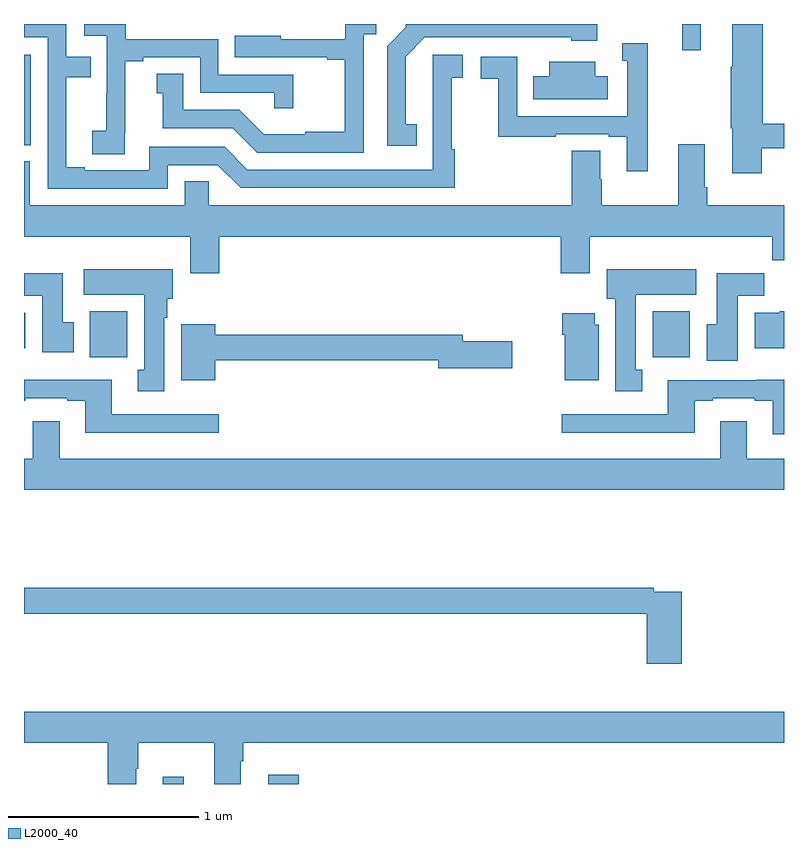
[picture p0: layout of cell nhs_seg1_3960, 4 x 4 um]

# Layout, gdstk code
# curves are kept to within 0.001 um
import gdstk
lib = gdstk.Library(unit=1e-6, precision=1e-09)
def R(c, l, rs):  # rectangles x0, y0, x1, y1
    for r in rs: c.add(gdstk.rectangle(r[:2], r[2:], *l))
def P(c, l, *ps):  # polygons
    for p in ps: c.add(gdstk.Polygon(p, *l))
L2000_40 = (2000, 40)

nhs_seg1_3960 = lib.new_cell('nhs_seg1_3960')
R(nhs_seg1_3960, L2000_40, [(327.731,534.199,327.841,534.238), (328.286,534.199,328.445,534.247), (327.347,536.444,327.544,536.686), (330.308,536.444,330.505,536.686), (327,536.492,327.007,536.68), (327,537.561,327.036,538.038), (330.465,538.062,330.562,538.199)])
P(nhs_seg1_3960, L2000_40, [(330.882,537.546),(331,537.546),(331,537.674),(330.887,537.674),(330.887,538.199),(330.728,538.199),(330.728,537.974),(330.721,537.974),(330.721,537.651),(330.728,537.651),(330.728,537.414),(330.882,537.414)],
  [(328.788,538.145),(328.853,538.145),(328.853,538.199),(328.692,538.199),(328.692,538.119),(328.351,538.119),(328.351,538.138),(328.108,538.138),(328.108,538.023),(328.595,538.023),(328.595,538.011),(328.687,538.011),(328.687,537.631),(328.481,537.631),(328.481,537.619),(328.262,537.619),(328.134,537.747),(327.838,537.747),(327.838,537.938),(327.698,537.938),(327.698,537.835),(327.731,537.835),(327.731,537.651),(328.098,537.651),(328.227,537.522),(328.788,537.522)],
  [(329.066,537.671),(329.008,537.671),(329.008,538.027),(329.109,538.128),(329.88,538.128),(329.88,538.112),(330.016,538.112),(330.016,538.199),(329.01,538.199),(329.01,538.181),(328.911,538.082),(328.911,537.558),(329.066,537.558)],
  [(327.53,537.625),(327.532,537.625),(327.532,538.003),(327.628,538.003),(327.628,538.023),(327.927,538.023),(327.927,537.837),(328.317,537.837),(328.317,537.756),(328.418,537.756),(328.418,537.933),(328.023,537.933),(328.023,538.119),(327.536,538.119),(327.536,538.199),(327.318,538.199),(327.318,538.137),(327.435,538.137),(327.435,537.833),(327.434,537.833),(327.434,537.636),(327.36,537.636),(327.36,537.514),(327.53,537.514)],
  [(327.756,537.456),(328.02,537.456),(328.14,537.336),(329.267,537.336),(329.267,537.539),(329.25,537.539),(329.25,537.915),(329.308,537.915),(329.308,538.036),(329.15,538.036),(329.151,537.432),(328.176,537.432),(328.056,537.552),(327.66,537.552),(327.66,537.429),(327.319,537.429),(327.319,537.444),(327.223,537.444),(327.223,537.918),(327.35,537.918),(327.35,538.026),(327.222,538.026),(327.222,538.199),(327,538.199),(327,538.128),(327.126,538.128),(327.126,537.333),(327.756,537.333)],
  [(330.283,538.099),(330.149,538.099),(330.149,538.005),(330.174,538.005),(330.174,537.714),(329.595,537.714),(329.595,538.026),(329.403,538.026),(329.403,537.91),(329.497,537.91),(329.497,537.606),(329.798,537.606),(329.798,537.618),(330.077,537.618),(330.077,537.606),(330.173,537.606),(330.173,537.423),(330.283,537.423)],
  [(330.073,537.925),(330.007,537.925),(330.007,538),(329.765,538),(329.765,537.925),(329.68,537.925),(329.68,537.803),(330.073,537.803)],
  [(328.028,537.08),(329.825,537.08),(329.825,536.886),(329.977,536.886),(329.977,537.08),(330.937,537.08),(330.937,536.956),(331,536.956),(331,537.244),(330.596,537.244),(330.596,537.34),(330.583,537.34),(330.583,537.565),(330.443,537.565),(330.443,537.244),(330.042,537.244),(330.042,537.383),(330.034,537.383),(330.034,537.533),(329.882,537.533),(329.882,537.244),(327.972,537.244),(327.972,537.371),(327.845,537.371),(327.845,537.244),(327.031,537.244),(327.031,537.476),(327,537.476),(327,537.08),(327.875,537.08),(327.875,536.886),(328.028,536.886)],
  [(330.253,536.378),(330.22,536.378),(330.22,536.774),(330.538,536.774),(330.538,536.908),(330.068,536.908),(330.068,536.754),(330.113,536.754),(330.113,536.265),(330.253,536.265)],
  [(327.739,536.654),(327.754,536.654),(327.754,536.754),(327.784,536.754),(327.784,536.908),(327.315,536.908),(327.315,536.774),(327.632,536.774),(327.632,536.378),(327.599,536.378),(327.599,536.265),(327.739,536.265)],
  [(327.262,536.628),(327.205,536.628),(327.205,536.887),(327,536.887),(327,536.768),(327.095,536.768),(327.095,536.472),(327.262,536.472)],
  [(330.757,536.768),(330.896,536.768),(330.896,536.887),(330.647,536.887),(330.647,536.62),(330.593,536.62),(330.593,536.427),(330.757,536.427)],
  [(331,536.686),(330.978,536.686),(330.978,536.68),(330.845,536.68),(330.845,536.492),(331,536.492)],
  [(330.025,536.616),(330.004,536.616),(330.004,536.677),(329.834,536.677),(329.834,536.564),(329.846,536.564),(329.846,536.324),(330.025,536.324)],
  [(328.006,536.428),(329.18,536.428),(329.18,536.386),(329.569,536.386),(329.569,536.528),(329.308,536.528),(329.308,536.564),(328.006,536.564),(328.006,536.62),(327.827,536.62),(327.827,536.324),(328.006,536.324)],
  [(328.024,536.145),(327.463,536.145),(327.463,536.326),(327,536.326),(327,536.217),(327.007,536.217),(327.007,536.229),(327.227,536.229),(327.227,536.217),(327.323,536.217),(327.323,536.048),(328.024,536.048)],
  [(331,536.326),(330.853,536.326),(330.853,536.325),(330.389,536.325),(330.389,536.145),(329.829,536.145),(329.829,536.048),(330.529,536.048),(330.529,536.217),(330.625,536.217),(330.625,536.229),(330.845,536.229),(330.845,536.217),(330.941,536.217),(330.941,536.04),(331,536.04)],
  [(331,535.912),(330.805,535.912),(330.805,536.107),(330.665,536.107),(330.665,535.912),(327.187,535.912),(327.187,536.107),(327.047,536.107),(327.047,535.912),(327,535.912),(327,535.748),(331,535.748)],
  [(330.461,535.212),(330.314,535.212),(330.314,535.232),(327,535.232),(327,535.096),(330.278,535.096),(330.278,534.831),(330.461,534.831)],
  [(327.592,534.278),(327.6,534.278),(327.6,534.416),(328.001,534.416),(328.001,534.199),(328.141,534.199),(328.141,534.32),(328.154,534.32),(328.154,534.416),(331,534.416),(331,534.58),(327,534.58),(327,534.416),(327.44,534.416),(327.44,534.199),(327.592,534.199)])

lib.write_gds('nhs_seg1_3960.gds')
